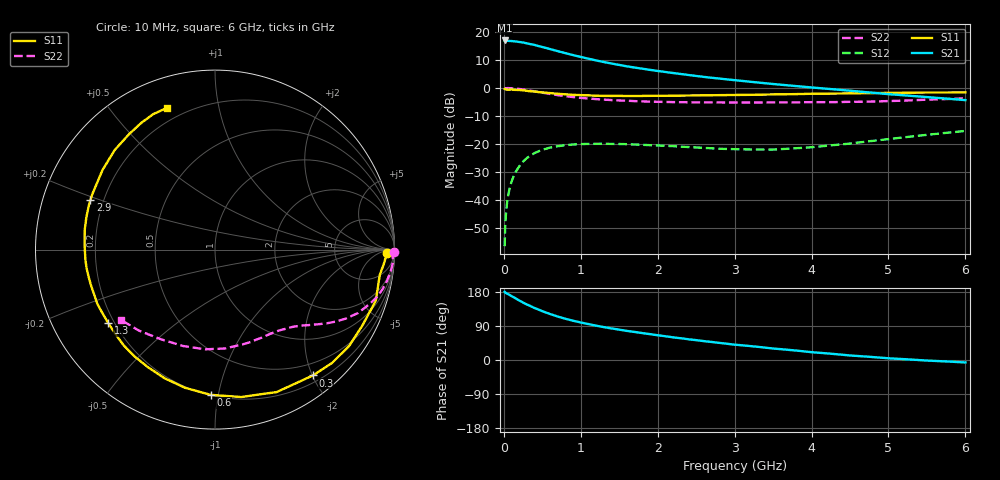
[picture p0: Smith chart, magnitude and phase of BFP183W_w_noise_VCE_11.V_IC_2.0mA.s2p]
! Infineon Technologies  Discrete & RF Semiconductors
! BFP183W
! VCE =  11. V,  IC =  2.0 mA
! Common Emitter S-Parameters:  Jan 2017
# GHz  S  MA  R  50
!  f  S11  S21  S12  S22
! GHz  MAG  ANG  MAG  ANG  MAG  ANG  MAG  ANG
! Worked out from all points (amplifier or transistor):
!   77 points, 10 MHz to 6 GHz, reference 50 ohm
!   highest |S21| = 17.0 dB at 10 MHz (marker M1)
!   |S21| within 3 dB of that: start of sweep to 591.5 MHz
!   unconditionally stable (mu >= 1): 2.843 GHz to 4.647 GHz
!   at 130 MHz: K = 0.05, MSG = 24.0 dB, |S12| = -31.3 dB
!   at 2.2 GHz: K = 0.77, MSG = 13.1 dB, |S12| = -20.8 dB
!   at 6 GHz: K = 0.74, MSG = 5.5 dB, |S12| = -15.4 dB
!   lowest NFmin = 0.76 dB at 450 MHz
!   S11 on the Smith chart (normalised r, x): 10 MHz: 41, -17; 300 MHz: 0.30, -2.01; 600 MHz: 0.20, -0.95; 1.3 GHz: 0.18, -0.30; 2.9 GHz: 0.15, +0.19; 6 GHz: 0.14, +0.71
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0.01  0.9594 -1.0  7.044 179.9  0.0015 84.2  1 -0.7
0.02  0.9437 -4.9  7.019 177.7  0.004 91.3  0.9857 -1.4
0.03  0.9383 -6.2  6.991 176.6  0.0062 86.1  0.9889 -2.1
0.08  0.9327 -14.1  6.896 171.0  0.017 80.6  0.9898 -5.5
0.15  0.9236 -27.3  6.764 163.0  0.0311 74.3  0.9745 -10.3
0.2  0.9202 -35.6  6.615 157.1  0.0399 70.7  0.9587 -13.4
0.3  0.8884 -52.1  6.261 146.5  0.0562 61.1  0.9157 -19.1
0.4  0.8649 -66.6  5.85 137.1  0.069 53.0  0.8709 -24.0
0.5  0.8342 -79.9  5.378 128.9  0.0788 46.0  0.8242 -27.8
0.6  0.8097 -91.7  4.952 121.4  0.0861 40.3  0.7818 -30.9
0.7  0.7877 -102.3  4.537 114.7  0.0911 35.6  0.7445 -33.5
0.8  0.7699 -111.4  4.189 108.9  0.0953 31.9  0.7137 -35.6
0.9  0.7541 -119.8  3.858 103.6  0.0979 28.0  0.6872 -37.5
1.1  0.7372 -133.7  3.326 94.8  0.1005 22.7  0.6481 -40.7
1.3  0.7222 -145.4  2.9 86.8  0.1011 18.4  0.6192 -43.7
1.6  0.7182 -159.6  2.431 76.8  0.0991 14.4  0.5915 -48.2
2.1  0.7245 -178.8  1.928 62.7  0.0927 11.8  0.5626 -56.3
2.9  0.7467 158.3  1.423 42.9  0.0815 17.0  0.5504 -71.7
3.1  0.7512 153.6  1.335 38.7  0.0803 20.3  0.5492 -75.8
4.1  0.789 133.4  0.994 19.1  0.0901 38.8  0.5576 -98.2
5.1  0.8189 119.0  0.757 3.4  0.1268 47.7  0.5886 -123.7
6  0.8335 108.9  0.606 -6.5  0.1707 46.1  0.6542 -143.2
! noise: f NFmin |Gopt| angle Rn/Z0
0.45  0.76  0.48  45  0.22
0.9  0.95  0.41  86  0.19
1.9  1.77  0.52  156  0.09
2.4  2.08  0.55  173  0.09
